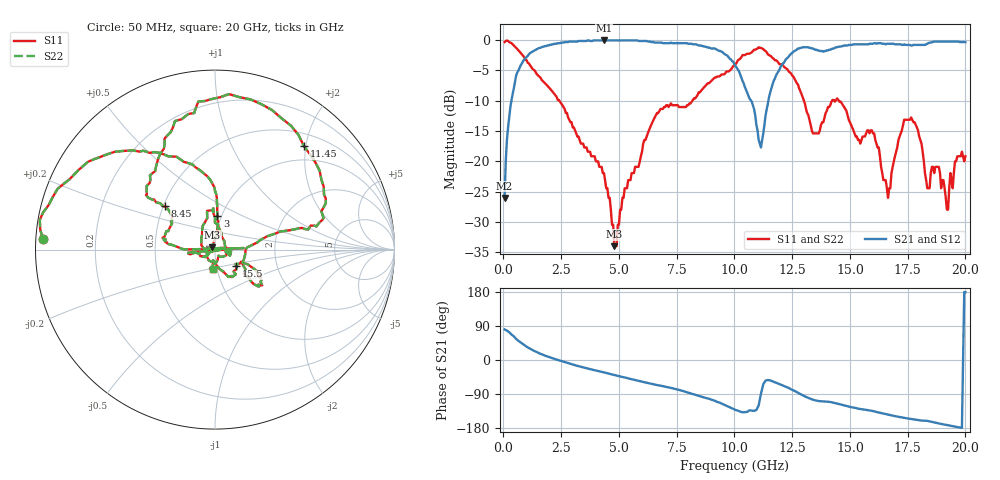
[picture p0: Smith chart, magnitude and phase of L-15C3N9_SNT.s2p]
# MHZ S MA R 50
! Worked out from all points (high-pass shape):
!   400 points, 50 MHz to 20 GHz, reference 50 ohm
!   highest |S21| = -0.09 dB at 4.35 GHz (marker M1); lowest = -26.0 dB at 50 MHz (marker M2)
!   |S21| within 3 dB of the highest: 927.3 MHz to 9.798 GHz (8.87 GHz wide, 165 % of centre); 12.25 GHz to end of sweep
!   lowest |S11| = -34.0 dB at 4.8 GHz (marker M3), VSWR 1.04, Z = 48.5 + j1.3 ohm
!   |S11| at or under -10 dB: 2.419 GHz to 8.181 GHz (5.763 GHz wide, 109 % of centre); 13.01 GHz to 14.23 GHz (1.222 GHz wide, 8.97 % of centre); 14.52 GHz to end of sweep (the widest 3 of 4)
!   |S22| runs from -34.0 to -0.1 dB; largest |S21 - S12| = 0
!   S11 on the Smith chart (normalised r, x): 50 MHz: 0.02, +0.03; 3 GHz: 0.95, +0.38; 8.45 GHz: 0.51, +0.28; 11.45 GHz: 0.72, +1.97; 15.5 GHz: 1.24, -0.23; 20 GHz: 0.95, -0.21
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50  0.96 176.5  0.05 80.6  0.05 80.6  0.96 176.5
600  0.84 143.1  0.54 52.9  0.54 52.9  0.84 143.1
3000  0.19 86.1  0.97 -11.9  0.97 -11.9  0.19 86.1
3400  0.14 83.6  0.98 -18.7  0.98 -18.7  0.14 83.6
4350  0.08 84.0  0.99 -32.5  0.99 -32.5  0.08 84.0
4800  0.02 137.9  0.99 -39.6  0.99 -39.6  0.02 137.9
6200  0.16 3.1  0.98 -60.0  0.98 -60.0  0.16 3.1
6700  0.25 173.3  0.95 -66.7  0.95 -66.7  0.25 173.3
8450  0.37 139.3  0.9 -94.5  0.9 -94.5  0.37 139.3
10050  0.63 116.9  0.61 -131.8  0.61 -131.8  0.63 116.9
11150  0.86 76.7  0.13 -88.6  0.13 -88.6  0.86 76.7
11450  0.76 49.3  0.3 -52.9  0.3 -52.9  0.76 49.3
13350  0.18 4.0  0.85 -103.8  0.85 -103.8  0.18 4.0
14450  0.33 -37.1  0.87 -115.2  0.87 -115.2  0.33 -37.1
15500  0.15 -37.9  0.92 -129.8  0.92 -129.8  0.15 -37.9
16700  0.06 10.2  0.93 -144.8  0.93 -144.8  0.06 10.2
17350  0.22 101.6  0.92 -152.8  0.92 -152.8  0.22 101.6
19200  0.04 -58.1  0.97 -171.8  0.97 -171.8  0.04 -58.1
19850  0.12 -100.7  0.96 -179.1  0.96 -179.1  0.12 -100.7
19900  0.11 -99.0  0.96 0.2  0.96 0.2  0.11 -99.0
19950  0.1 -97.4  0.96 179.4  0.96 179.4  0.1 -97.4
20000  0.11 -97.1  0.96 179.1  0.96 179.1  0.11 -97.1
